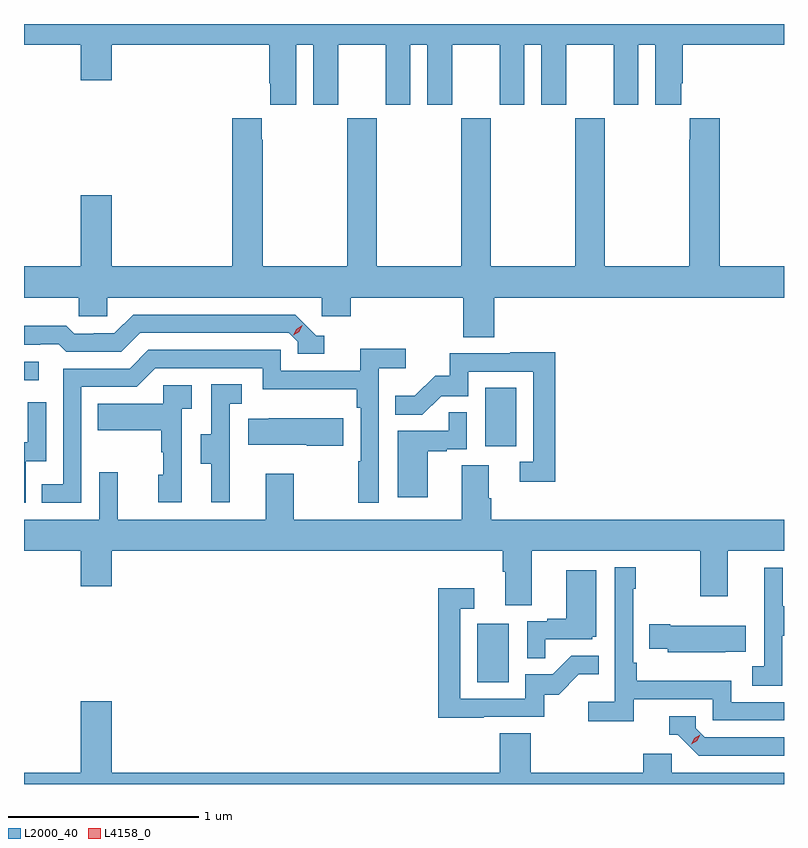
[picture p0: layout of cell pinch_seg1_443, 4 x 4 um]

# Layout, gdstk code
import gdstk
lib = gdstk.Library(unit=1e-6, precision=1e-09)
def R(c, l, rs):  # rectangles x0, y0, x1, y1
    for r in rs: c.add(gdstk.rectangle(r[:2], r[2:], *l))
def P(c, l, *ps):  # polygons
    for p in ps: c.add(gdstk.Polygon(p, *l))
L2000_40 = (2000, 40)
L4158_0 = (4158, 0)

pinch_seg1_443 = lib.new_cell('pinch_seg1_443')
R(pinch_seg1_443, L2000_40, [(982.28,512.412,982.444,512.719), (982.322,513.654,982.486,513.961), (979.894,514.002,979.972,514.098)])
P(pinch_seg1_443, L2000_40, [(981.328,515.768),(981.416,515.768),(981.416,515.451),(981.547,515.451),(981.547,515.768),(981.797,515.768),(981.797,515.451),(981.928,515.451),(981.928,515.768),(982.016,515.768),(982.016,515.451),(982.147,515.451),(982.147,515.768),(982.397,515.768),(982.397,515.451),(982.528,515.451),(982.528,515.768),(982.616,515.768),(982.616,515.451),(982.747,515.451),(982.747,515.768),(982.997,515.768),(982.997,515.451),(983.128,515.451),(983.128,515.768),(983.216,515.768),(983.216,515.451),(983.353,515.451),(983.353,515.563),(983.36,515.563),(983.36,515.768),(983.894,515.768),(983.894,515.876),(979.894,515.876),(979.894,515.768),(980.192,515.768),(980.192,515.58),(980.356,515.58),(980.356,515.768),(981.185,515.768),(981.185,515.563),(981.191,515.563),(981.191,515.451),(981.328,515.451)],
  [(982.37,514.436),(983.894,514.436),(983.894,514.6),(983.555,514.6),(983.555,515.38),(983.399,515.38),(983.399,515.267),(983.395,515.267),(983.395,514.6),(982.95,514.6),(982.95,515.38),(982.795,515.38),(982.795,514.6),(982.35,514.6),(982.35,515.38),(982.195,515.38),(982.195,514.6),(981.75,514.6),(981.75,515.38),(981.595,515.38),(981.595,514.6),(981.15,514.6),(981.15,515.267),(981.145,515.267),(981.145,515.38),(980.99,515.38),(980.99,514.6),(980.356,514.6),(980.356,514.975),(980.192,514.975),(980.192,514.6),(979.894,514.6),(979.894,514.436),(980.181,514.436),(980.181,514.338),(980.331,514.338),(980.331,514.436),(981.462,514.436),(981.462,514.338),(981.614,514.338),(981.614,514.436),(982.205,514.436),(982.205,514.228),(982.37,514.228)],
  [(981.475,514.236),(981.432,514.236),(981.321,514.347),(980.468,514.347),(980.369,514.248),(980.262,514.248),(980.262,514.245),(980.159,514.245),(980.117,514.288),(979.894,514.288),(979.894,514.188),(979.979,514.188),(979.979,514.191),(980.078,514.191),(980.117,514.152),(980.406,514.152),(980.505,514.251),(981.288,514.251),(981.336,514.203),(981.336,514.14),(981.475,514.14)],
  [(980.196,513.966),(980.487,513.966),(980.586,514.065),(981.15,514.065),(981.15,513.953),(981.646,513.953),(981.646,513.857),(981.666,513.857),(981.666,513.575),(981.654,513.575),(981.654,513.357),(981.762,513.357),(981.762,514.064),(981.904,514.064),(981.904,514.166),(981.665,514.166),(981.665,514.05),(981.246,514.05),(981.246,514.161),(980.549,514.161),(980.45,514.062),(980.1,514.062),(980.1,513.453),(979.987,513.453),(979.987,513.357),(980.196,513.357)],
  [(982.691,514.148),(982.453,514.148),(982.453,514.143),(982.135,514.143),(982.135,514.026),(982.058,514.026),(981.951,513.919),(981.847,513.919),(981.847,513.82),(981.991,513.82),(982.089,513.918),(982.233,513.918),(982.233,514.047),(982.575,514.047),(982.575,513.573),(982.503,513.573),(982.503,513.468),(982.691,513.468)],
  [(980.978,513.573),(980.976,513.573),(980.976,513.877),(981.04,513.877),(981.04,513.98),(980.88,513.98),(980.88,513.717),(980.825,513.717),(980.825,513.562),(980.879,513.562),(980.879,513.36),(980.978,513.36)],
  [(980.724,513.851),(980.776,513.851),(980.776,513.975),(980.628,513.975),(980.628,513.877),(980.281,513.877),(980.281,513.737),(980.616,513.737),(980.616,513.623),(980.626,513.623),(980.626,513.504),(980.6,513.504),(980.6,513.36),(980.724,513.36)],
  [(979.902,513.576),(980.01,513.576),(980.01,513.886),(979.914,513.886),(979.914,513.674),(979.894,513.674),(979.894,513.357),(979.902,513.357)],
  [(982.018,513.627),(982.118,513.627),(982.118,513.639),(982.224,513.639),(982.224,513.833),(982.129,513.833),(982.129,513.735),(981.86,513.735),(981.86,513.384),(982.018,513.384)],
  [(981.574,513.802),(981.181,513.802),(981.181,513.799),(981.073,513.799),(981.073,513.662),(981.383,513.662),(981.383,513.655),(981.574,513.655)],
  [(982.567,513.104),(983.452,513.104),(983.452,512.865),(983.599,512.865),(983.599,513.104),(983.894,513.104),(983.894,513.268),(982.352,513.268),(982.352,513.38),(982.339,513.38),(982.339,513.554),(982.199,513.554),(982.199,513.268),(981.315,513.268),(981.315,513.508),(981.167,513.508),(981.167,513.268),(980.387,513.268),(980.387,513.517),(980.289,513.517),(980.289,513.268),(979.894,513.268),(979.894,513.104),(980.192,513.104),(980.192,512.916),(980.356,512.916),(980.356,513.104),(982.415,513.104),(982.415,512.992),(982.427,512.992),(982.427,512.818),(982.567,512.818)],
  [(983.102,512.322),(983.52,512.322),(983.52,512.211),(983.894,512.211),(983.894,512.307),(983.616,512.307),(983.616,512.419),(983.12,512.419),(983.12,512.515),(983.1,512.515),(983.1,512.903),(983.113,512.903),(983.113,513.016),(983.004,513.016),(983.004,512.308),(982.863,512.308),(982.863,512.206),(983.102,512.206)],
  [(983.886,512.656),(983.894,512.656),(983.894,512.811),(983.887,512.811),(983.887,513.013),(983.789,513.013),(983.789,512.799),(983.79,512.799),(983.79,512.495),(983.727,512.495),(983.727,512.392),(983.886,512.392)],
  [(982.637,512.637),(982.884,512.637),(982.884,512.652),(982.906,512.652),(982.906,513.001),(982.748,513.001),(982.748,512.746),(982.649,512.746),(982.649,512.733),(982.542,512.733),(982.542,512.539),(982.637,512.539)],
  [(982.313,512.229),(982.632,512.229),(982.632,512.346),(982.708,512.346),(982.815,512.453),(982.919,512.453),(982.919,512.552),(982.775,512.552),(982.677,512.454),(982.533,512.454),(982.533,512.325),(982.191,512.325),(982.191,512.799),(982.264,512.799),(982.264,512.905),(982.075,512.905),(982.075,512.224),(982.313,512.224)],
  [(983.585,512.573),(983.693,512.573),(983.693,512.71),(983.296,512.71),(983.296,512.718),(983.185,512.718),(983.185,512.588),(983.283,512.588),(983.283,512.57),(983.585,512.57)],
  [(983.894,511.936),(983.304,511.936),(983.304,512.034),(983.153,512.034),(983.153,511.936),(982.562,511.936),(982.562,512.144),(982.397,512.144),(982.397,511.936),(980.356,511.936),(980.356,512.311),(980.192,512.311),(980.192,511.936),(979.894,511.936),(979.894,511.876),(983.894,511.876)],
  [(983.894,512.121),(983.478,512.121),(983.43,512.169),(983.43,512.232),(983.291,512.232),(983.291,512.136),(983.334,512.136),(983.445,512.025),(983.894,512.025)])
P(pinch_seg1_443, L4158_0, [(981.312,514.237),(981.312,514.237),(981.327,514.27),(981.358,514.29),(981.358,514.29),(981.358,514.29),(981.343,514.257),(981.312,514.237)],
  [(983.406,512.084),(983.406,512.084),(983.422,512.116),(983.453,512.136),(983.454,512.136),(983.454,512.135),(983.437,512.103),(983.406,512.084)])

lib.write_gds('pinch_seg1_443.gds')
